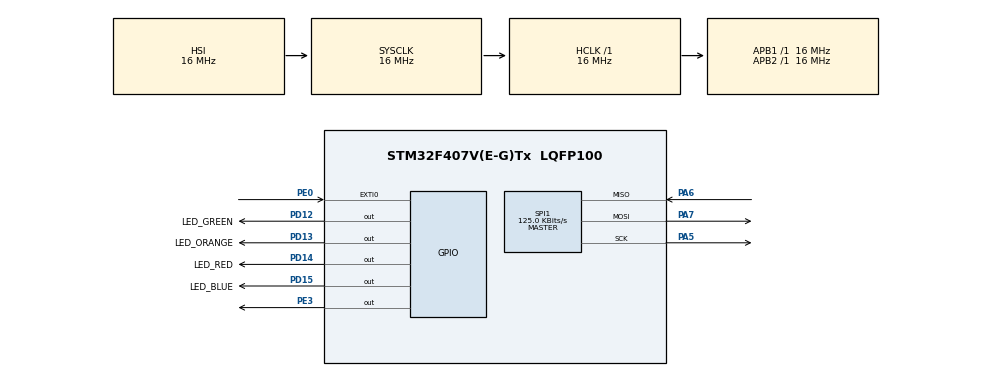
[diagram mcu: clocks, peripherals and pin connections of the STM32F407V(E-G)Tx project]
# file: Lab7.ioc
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Mcu.Family=STM32F4
Mcu.Name=STM32F407V(E-G)Tx
Mcu.Package=LQFP100
NVIC.EXTI0_IRQn=true\:0\:0\:false\:false\:true\:true\:true\:true
NVIC.PriorityGroup=NVIC_PRIORITYGROUP_4
PA5.Mode=Full_Duplex_Master
PA5.Signal=SPI1_SCK
PA6.Mode=Full_Duplex_Master
PA6.Signal=SPI1_MISO
PA7.Mode=Full_Duplex_Master
PA7.Signal=SPI1_MOSI
PD12.GPIO_Label=LED_GREEN
PD12.Signal=GPIO_Output
PD13.GPIO_Label=LED_ORANGE
PD13.Signal=GPIO_Output
PD14.GPIO_Label=LED_RED
PD14.Signal=GPIO_Output
PD15.GPIO_Label=LED_BLUE
PD15.Signal=GPIO_Output
PE0.Signal=GPXTI0
PE3.Signal=GPIO_Output
ProjectManager.HeapSize=0x200
ProjectManager.StackSize=0x400
ProjectManager.TargetToolchain=STM32CubeIDE
RCC.AHBFreq_Value=16000000
RCC.APB1Freq_Value=16000000
RCC.APB2Freq_Value=16000000
RCC.CortexFreq_Value=16000000
RCC.HSE_VALUE=25000000
RCC.HSI_VALUE=16000000
RCC.LSE_VALUE=32768
RCC.SYSCLKFreq_VALUE=16000000
RCC.VCOOutputFreq_Value=192000000
SPI1.BaudRatePrescaler=SPI_BAUDRATEPRESCALER_128
SPI1.CalculateBaudRate=125.0 KBits/s
SPI1.Direction=SPI_DIRECTION_2LINES
SPI1.Mode=SPI_MODE_MASTER
SPI1.VirtualType=VM_MASTER
board=custom

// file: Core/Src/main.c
/* USER CODE BEGIN Header */
/**
  ******************************************************************************
  * @file           : main.c
  * @brief          : Main program body
  ******************************************************************************
  * @attention
  *
  * Copyright (c) 2024 STMicroelectronics.
  * All rights reserved.
  *
  * This software is licensed under terms that can be found in the LICENSE file
  * in the root directory of this software component.
  * If no LICENSE file comes with this software, it is provided AS-IS.
  *
  ******************************************************************************
  */
/* USER CODE END Header */
#include "main.h"

/* USER CODE BEGIN Includes */

#include "MY_LIS3DSH.h"

/* USER CODE END Includes */

/* USER CODE BEGIN PTD */

typedef enum {
  BLUE,
  RED,
  ORANGE,
  GREEN
} LEDS;

#define LEDS_AMOUNT 4

typedef GPIO_PinState State[LEDS_AMOUNT];

/* USER CODE END PTD */

/* USER CODE BEGIN PD */

#define MAX 1000.0f
#define IGNORE_SPAN 100.0f

/* USER CODE END PD */

/* USER CODE BEGIN PM */

#define ABS(x) (x > 0 ? x : -x)

#define LED_PIN(index) ((uint16_t [LEDS_AMOUNT]){   \
      [BLUE] = LED_BLUE_Pin,                        \
      [RED] = LED_RED_Pin,                          \
      [ORANGE] = LED_ORANGE_Pin,                    \
      [GREEN] = LED_GREEN_Pin })[index]

/* USER CODE END PM */

SPI_HandleTypeDef hspi1;

/* USER CODE BEGIN PV */

LIS3DSH_DataScaled myData;
uint8_t drdyFlag = 0;

/* USER CODE END PV */

void SystemClock_Config(void);
static void MX_GPIO_Init(void);
static void MX_SPI1_Init(void);

/* USER CODE BEGIN 0 */

void HAL_GPIO_EXTI_Callback(uint16_t GPIO_Pin) {
  UNUSED(GPIO_Pin);
  drdyFlag = 1;
}

/* USER CODE END 0 */

int main(void)
{

  /* MCU Configuration--------------------------------------------------------*/

  /* Reset of all peripherals, Initializes the Flash interface and the Systick. */
  HAL_Init();

  /* Configure the system clock */
  SystemClock_Config();

  /* Initialize all configured peripherals */
  MX_GPIO_Init();
  MX_SPI1_Init();
  /* USER CODE BEGIN 2 */

  LIS3DSH_InitTypeDef myAccConfigDef;

  myAccConfigDef.dataRate = LIS3DSH_DATARATE_25;
  myAccConfigDef.fullScale = LIS3DSH_FULLSCALE_4;
  myAccConfigDef.antiAliasingBW = LIS3DSH_FILTER_BW_50;
  myAccConfigDef.enableAxes = LIS3DSH_XYZ_ENABLE;
  myAccConfigDef.interruptEnable = true;
  LIS3DSH_Init(&hspi1, &myAccConfigDef);

  LIS3DSH_X_calibrate(-1000.0, 980.0);
  LIS3DSH_Y_calibrate(-1020.0, 1040.0);
  LIS3DSH_Z_calibrate(-920.0, 1040.0);

  /* USER CODE END 2 */

  State current = {
    [BLUE] = GPIO_PIN_RESET,
    [RED] = GPIO_PIN_RESET,
    [ORANGE] = GPIO_PIN_RESET,
    [GREEN] = GPIO_PIN_RESET
  };

  const float half = 0.5f * MAX;

  /* Infinite loop */
  /* USER CODE BEGIN WHILE */
  while (1) {
	  if (drdyFlag) {
		  myData = LIS3DSH_GetDataScaled();
		  drdyFlag = 0;
	  }

    State expected = {
      [BLUE] = current[BLUE],
      [RED] = current[RED],
      [ORANGE] = current[ORANGE],
      [GREEN] = current[GREEN]
    };

    if (ABS(myData.x) > half + IGNORE_SPAN || ABS(myData.x) < half - IGNORE_SPAN) {
      expected[RED] = myData.x > half ? GPIO_PIN_SET : GPIO_PIN_RESET;
      expected[GREEN] = myData.x < -half ? GPIO_PIN_SET : GPIO_PIN_RESET;
    }

    if (ABS(myData.y) > half + IGNORE_SPAN || ABS(myData.y) < half - IGNORE_SPAN) {
      expected[ORANGE] = myData.y > half ? GPIO_PIN_SET : GPIO_PIN_RESET;
      expected[BLUE] = myData.y < -half ? GPIO_PIN_SET : GPIO_PIN_RESET;
    }

    for (int i = 0; i < LEDS_AMOUNT; i++) {
      if (current[i] == expected[i])
        continue;

      HAL_GPIO_TogglePin(GPIOD, LED_PIN(i));
      current[i] = expected[i];
    }

    /* USER CODE END WHILE */

  }
}

void SystemClock_Config(void)
{
  RCC_OscInitTypeDef RCC_OscInitStruct = {0};
  RCC_ClkInitTypeDef RCC_ClkInitStruct = {0};

  /** Configure the main internal regulator output voltage
  */
  __HAL_RCC_PWR_CLK_ENABLE();
  __HAL_PWR_VOLTAGESCALING_CONFIG(PWR_REGULATOR_VOLTAGE_SCALE1);

  /** Initializes the RCC Oscillators according to the specified parameters
  * in the RCC_OscInitTypeDef structure.
  */
  RCC_OscInitStruct.OscillatorType = RCC_OSCILLATORTYPE_HSI;
  RCC_OscInitStruct.HSIState = RCC_HSI_ON;
  RCC_OscInitStruct.HSICalibrationValue = RCC_HSICALIBRATION_DEFAULT;
  RCC_OscInitStruct.PLL.PLLState = RCC_PLL_NONE;
  if (HAL_RCC_OscConfig(&RCC_OscInitStruct) != HAL_OK)
  {
    Error_Handler();
  }

  /** Initializes the CPU, AHB and APB buses clocks
  */
  RCC_ClkInitStruct.ClockType = RCC_CLOCKTYPE_HCLK|RCC_CLOCKTYPE_SYSCLK
                              |RCC_CLOCKTYPE_PCLK1|RCC_CLOCKTYPE_PCLK2;
  RCC_ClkInitStruct.SYSCLKSource = RCC_SYSCLKSOURCE_HSI;
  RCC_ClkInitStruct.AHBCLKDivider = RCC_SYSCLK_DIV1;
  RCC_ClkInitStruct.APB1CLKDivider = RCC_HCLK_DIV1;
  RCC_ClkInitStruct.APB2CLKDivider = RCC_HCLK_DIV1;

  if (HAL_RCC_ClockConfig(&RCC_ClkInitStruct, FLASH_LATENCY_0) != HAL_OK)
  {
    Error_Handler();
  }
}

static void MX_SPI1_Init(void)
{

  /* SPI1 parameter configuration*/
  hspi1.Instance = SPI1;
  hspi1.Init.Mode = SPI_MODE_MASTER;
  hspi1.Init.Direction = SPI_DIRECTION_2LINES;
  hspi1.Init.DataSize = SPI_DATASIZE_8BIT;
  hspi1.Init.CLKPolarity = SPI_POLARITY_LOW;
  hspi1.Init.CLKPhase = SPI_PHASE_1EDGE;
  hspi1.Init.NSS = SPI_NSS_SOFT;
  hspi1.Init.BaudRatePrescaler = SPI_BAUDRATEPRESCALER_128;
  hspi1.Init.FirstBit = SPI_FIRSTBIT_MSB;
  hspi1.Init.TIMode = SPI_TIMODE_DISABLE;
  hspi1.Init.CRCCalculation = SPI_CRCCALCULATION_DISABLE;
  hspi1.Init.CRCPolynomial = 10;
  if (HAL_SPI_Init(&hspi1) != HAL_OK)
  {
    Error_Handler();
  }

}

static void MX_GPIO_Init(void)
{
  GPIO_InitTypeDef GPIO_InitStruct = {0};

  /* GPIO Ports Clock Enable */
  __HAL_RCC_GPIOE_CLK_ENABLE();
  __HAL_RCC_GPIOA_CLK_ENABLE();
  __HAL_RCC_GPIOD_CLK_ENABLE();

  /*Configure GPIO pin Output Level */
  HAL_GPIO_WritePin(GPIOE, GPIO_PIN_3, GPIO_PIN_RESET);

  /*Configure GPIO pin Output Level */
  HAL_GPIO_WritePin(GPIOD, LED_GREEN_Pin|LED_ORANGE_Pin|LED_RED_Pin|LED_BLUE_Pin, GPIO_PIN_RESET);

  /*Configure GPIO pin : PE3 */
  GPIO_InitStruct.Pin = GPIO_PIN_3;
  GPIO_InitStruct.Mode = GPIO_MODE_OUTPUT_PP;
  GPIO_InitStruct.Pull = GPIO_NOPULL;
  GPIO_InitStruct.Speed = GPIO_SPEED_FREQ_LOW;
  HAL_GPIO_Init(GPIOE, &GPIO_InitStruct);

  /*Configure GPIO pins : LED_GREEN_Pin LED_ORANGE_Pin LED_RED_Pin LED_BLUE_Pin */
  GPIO_InitStruct.Pin = LED_GREEN_Pin|LED_ORANGE_Pin|LED_RED_Pin|LED_BLUE_Pin;
  GPIO_InitStruct.Mode = GPIO_MODE_OUTPUT_PP;
  GPIO_InitStruct.Pull = GPIO_NOPULL;
  GPIO_InitStruct.Speed = GPIO_SPEED_FREQ_LOW;
  HAL_GPIO_Init(GPIOD, &GPIO_InitStruct);

  /*Configure GPIO pin : PE0 */
  GPIO_InitStruct.Pin = GPIO_PIN_0;
  GPIO_InitStruct.Mode = GPIO_MODE_IT_RISING;
  GPIO_InitStruct.Pull = GPIO_NOPULL;
  HAL_GPIO_Init(GPIOE, &GPIO_InitStruct);

  /* EXTI interrupt init*/
  HAL_NVIC_SetPriority(EXTI0_IRQn, 0, 0);
  HAL_NVIC_EnableIRQ(EXTI0_IRQn);

}

void Error_Handler(void)
{
  __disable_irq();
  while (1)
  {
  }
}
